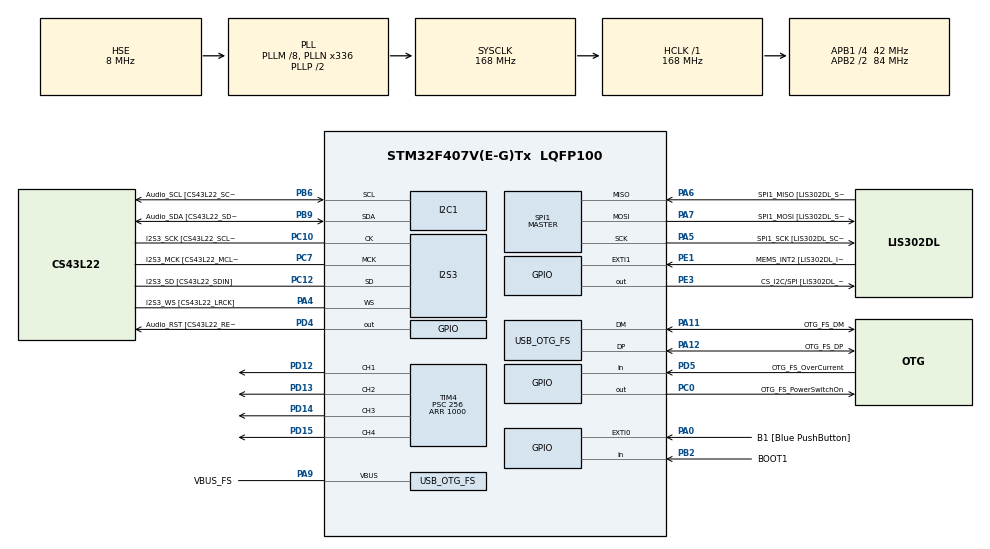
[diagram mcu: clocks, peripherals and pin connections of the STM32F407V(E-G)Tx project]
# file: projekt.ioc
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I2S3.AudioFreq-Half_Duplex_Master=I2S_AUDIOFREQ_96K
I2S3.ErrorAudioFreq=-2.34 %
I2S3.ErrorAudioFreq-Half_Duplex_Master=0.8 %
I2S3.FullDuplexMode=I2S_FULLDUPLEXMODE_DISABLE
I2S3.Instance=SPI$Index
I2S3.RealAudioFreq=93.75 KHz
I2S3.RealAudioFreq-Half_Duplex_Master=96.774 KHz
I2S3.VirtualMode=I2S_MODE_MASTER
Mcu.Family=STM32F4
Mcu.Name=STM32F407V(E-G)Tx
Mcu.Package=LQFP100
NVIC.EXTI0_IRQn=true\:0\:0\:false\:false\:true\:true\:true\:true
NVIC.OTG_FS_IRQn=true\:0\:0\:false\:false\:true\:true\:true\:true
NVIC.PriorityGroup=NVIC_PRIORITYGROUP_0
PA0-WKUP.GPIO_Label=B1 [Blue PushButton]
PA0-WKUP.GPIO_ModeDefaultEXTI=GPIO_MODE_IT_RISING
PA0-WKUP.GPIO_PuPd=GPIO_PULLDOWN
PA0-WKUP.Signal=GPXTI0
PA10.GPIO_Label=OTG_FS_ID
PA10.GPIO_Mode=GPIO_MODE_AF_PP
PA10.GPIO_PuPd=GPIO_NOPULL
PA10.GPIO_Speed=GPIO_SPEED_FREQ_LOW
PA10.Signal=USB_OTG_FS_ID
PA11.GPIO_Label=OTG_FS_DM
PA11.GPIO_Mode=GPIO_MODE_AF_PP
PA11.GPIO_PuPd=GPIO_NOPULL
PA11.GPIO_Speed=GPIO_SPEED_FREQ_LOW
PA11.Mode=Device_Only
PA11.Signal=USB_OTG_FS_DM
PA12.GPIO_Label=OTG_FS_DP
PA12.GPIO_Mode=GPIO_MODE_AF_PP
PA12.GPIO_PuPd=GPIO_NOPULL
PA12.GPIO_Speed=GPIO_SPEED_FREQ_LOW
PA12.Mode=Device_Only
PA12.Signal=USB_OTG_FS_DP
PA13.GPIO_Label=SWDIO
PA13.Mode=Serial_Wire
PA13.Signal=SYS_JTMS-SWDIO
PA14.GPIO_Label=SWCLK
PA14.Mode=Serial_Wire
PA14.Signal=SYS_JTCK-SWCLK
PA4.GPIO_Label=I2S3_WS [CS43L22_LRCK]
PA4.GPIO_Mode=GPIO_MODE_AF_PP
PA4.GPIO_PuPd=GPIO_NOPULL
PA4.GPIO_Speed=GPIO_SPEED_FREQ_LOW
PA4.Mode=Half_Duplex_Master
PA4.Signal=I2S3_WS
PA5.GPIO_Label=SPI1_SCK [LIS302DL_SCL/SPC]
PA5.GPIO_Mode=GPIO_MODE_AF_PP
PA5.GPIO_PuPd=GPIO_NOPULL
PA5.GPIO_Speed=GPIO_SPEED_FREQ_LOW
PA5.Mode=Full_Duplex_Master
PA5.Signal=SPI1_SCK
PA6.GPIO_Label=SPI1_MISO [LIS302DL_SDO]
PA6.GPIO_Mode=GPIO_MODE_AF_PP
PA6.GPIO_PuPd=GPIO_NOPULL
PA6.GPIO_Speed=GPIO_SPEED_FREQ_LOW
PA6.Mode=Full_Duplex_Master
PA6.Signal=SPI1_MISO
PA7.GPIO_Label=SPI1_MOSI [LIS302DL_SDA/SDI/SDO]
PA7.GPIO_Mode=GPIO_MODE_AF_PP
PA7.GPIO_PuPd=GPIO_NOPULL
PA7.GPIO_Speed=GPIO_SPEED_FREQ_LOW
PA7.Mode=Full_Duplex_Master
PA7.Signal=SPI1_MOSI
PA9.GPIO_Label=VBUS_FS
PA9.GPIO_Mode=GPIO_MODE_INPUT
PA9.GPIO_PuPd=GPIO_NOPULL
PA9.Mode=Activate_VBUS
PA9.Signal=USB_OTG_FS_VBUS
PB10.GPIO_Label=CLK_IN [MP45DT02_CLK]
PB10.GPIO_Mode=GPIO_MODE_AF_PP
PB10.GPIO_PuPd=GPIO_NOPULL
PB10.GPIO_Speed=GPIO_SPEED_FREQ_LOW
PB10.Signal=I2S2_CK
PB2.GPIO_Label=BOOT1
PB2.GPIO_Mode=GPIO_MODE_INPUT
PB2.GPIO_PuPd=GPIO_NOPULL
PB2.Signal=GPIO_Input
PB3.GPIO_Label=SWO
PB3.Signal=SYS_JTDO-SWO
PB6.GPIO_Label=Audio_SCL [CS43L22_SCL]
PB6.GPIO_Mode=GPIO_MODE_AF_OD
PB6.GPIO_Pu=GPIO_PULLUP
PB6.GPIO_PuPd=GPIO_NOPULL
PB6.GPIO_Speed=GPIO_SPEED_FREQ_LOW
PB6.Mode=I2C
PB6.Signal=I2C1_SCL
PB9.GPIO_Label=Audio_SDA [CS43L22_SDA]
PB9.GPIO_Mode=GPIO_MODE_AF_OD
PB9.GPIO_Pu=GPIO_PULLUP
PB9.GPIO_PuPd=GPIO_NOPULL
PB9.GPIO_Speed=GPIO_SPEED_FREQ_LOW
PB9.Mode=I2C
PB9.Signal=I2C1_SDA
PC0.GPIO_Label=OTG_FS_PowerSwitchOn
PC0.GPIO_PuPd=GPIO_NOPULL
PC0.GPIO_Speed=GPIO_SPEED_FREQ_LOW
PC0.PinState=GPIO_PIN_SET
PC0.Signal=GPIO_Output
PC10.GPIO_Label=I2S3_SCK [CS43L22_SCLK]
PC10.GPIO_Mode=GPIO_MODE_AF_PP
PC10.GPIO_PuPd=GPIO_NOPULL
PC10.GPIO_Speed=GPIO_SPEED_FREQ_LOW
PC10.Mode=Half_Duplex_Master
PC10.Signal=I2S3_CK
PC12.GPIO_Label=I2S3_SD [CS43L22_SDIN]
PC12.GPIO_Mode=GPIO_MODE_AF_PP
PC12.GPIO_PuPd=GPIO_NOPULL
PC12.GPIO_Speed=GPIO_SPEED_FREQ_LOW
PC12.Mode=Half_Duplex_Master
PC12.Signal=I2S3_SD
PC14-OSC32_IN.GPIO_Label=PC14-OSC32_IN
PC14-OSC32_IN.Mode=LSE-External-Oscillator
PC14-OSC32_IN.Signal=RCC_OSC32_IN
PC15-OSC32_OUT.GPIO_Label=PC15-OSC32_OUT
PC15-OSC32_OUT.Mode=LSE-External-Oscillator
PC15-OSC32_OUT.Signal=RCC_OSC32_OUT
PC3.GPIO_Label=PDM_OUT [MP45DT02_DOUT]
PC3.GPIO_Mode=GPIO_MODE_AF_PP
PC3.GPIO_PuPd=GPIO_NOPULL
PC3.GPIO_Speed=GPIO_SPEED_FREQ_LOW
PC3.Signal=I2S2_SD
PC7.GPIO_Label=I2S3_MCK [CS43L22_MCLK]
PC7.GPIO_Mode=GPIO_MODE_AF_PP
PC7.GPIO_PuPd=GPIO_NOPULL
PC7.GPIO_Speed=GPIO_SPEED_FREQ_LOW
PC7.Mode=Master_Clock_Activated
PC7.Signal=I2S3_MCK
PD12.Signal=S_TIM4_CH1
PD13.Signal=S_TIM4_CH2
PD14.Signal=S_TIM4_CH3
PD15.Signal=S_TIM4_CH4
PD4.GPIO_Label=Audio_RST [CS43L22_RESET]
PD4.GPIO_PuPd=GPIO_NOPULL
PD4.GPIO_Speed=GPIO_SPEED_FREQ_LOW
PD4.Signal=GPIO_Output
PD5.GPIO_Label=OTG_FS_OverCurrent
PD5.GPIO_Mode=GPIO_MODE_INPUT
PD5.GPIO_PuPd=GPIO_NOPULL
PD5.Signal=GPIO_Input
PE1.GPIO_Label=MEMS_INT2 [LIS302DL_INT2]
PE1.GPIO_ModeDefaultEXTI=GPIO_MODE_EVT_RISING
PE1.GPIO_PuPd=GPIO_NOPULL
PE1.Signal=GPXTI1
PE3.GPIO_Label=CS_I2C/SPI [LIS302DL_CS_I2C/SPI]
PE3.GPIO_PuPd=GPIO_NOPULL
PE3.GPIO_Speed=GPIO_SPEED_FREQ_LOW
PE3.Signal=GPIO_Output
PH0-OSC_IN.GPIO_Label=PH0-OSC_IN
PH0-OSC_IN.Mode=HSE-External-Oscillator
PH0-OSC_IN.Signal=RCC_OSC_IN
PH1-OSC_OUT.GPIO_Label=PH1-OSC_OUT
PH1-OSC_OUT.Mode=HSE-External-Oscillator
PH1-OSC_OUT.Signal=RCC_OSC_OUT
ProjectManager.HeapSize=0x200
ProjectManager.StackSize=0x400
ProjectManager.TargetToolchain=STM32CubeIDE
RCC.48MHZClocksFreq_Value=48000000
RCC.AHBFreq_Value=168000000
RCC.APB1CLKDivider=RCC_HCLK_DIV4
RCC.APB1Freq_Value=42000000
RCC.APB1TimFreq_Value=84000000
RCC.APB2CLKDivider=RCC_HCLK_DIV2
RCC.APB2Freq_Value=84000000
RCC.APB2TimFreq_Value=168000000
RCC.CortexFreq_Value=168000000
RCC.HCLKFreq_Value=168000000
RCC.HSE_VALUE=8000000
RCC.HSI_VALUE=16000000
RCC.PLLM=8
RCC.PLLN=336
RCC.PLLQ=7
RCC.SYSCLKFreq_VALUE=168000000
RCC.SYSCLKSource=RCC_SYSCLKSOURCE_PLLCLK
RCC.VCOOutputFreq_Value=336000000
SH.S_TIM4_CH1.0=TIM4_CH1,PWM Generation1 CH1
SH.S_TIM4_CH2.0=TIM4_CH2,PWM Generation2 CH2
SH.S_TIM4_CH3.0=TIM4_CH3,PWM Generation3 CH3
SH.S_TIM4_CH4.0=TIM4_CH4,PWM Generation4 CH4
SPI1.BaudRatePrescaler-Full_Duplex_Master=SPI_BAUDRATEPRESCALER_2
SPI1.CalculateBaudRate-Full_Duplex_Master=42.0 MBits/s
SPI1.Direction=SPI_DIRECTION_2LINES
SPI1.Mode=SPI_MODE_MASTER
SPI1.Mode-Full_Duplex_Master=SPI_MODE_MASTER
SPI1.VirtualType=VM_MASTER
TIM4.Channel-PWM\ Generation1\ CH1=TIM_CHANNEL_1
TIM4.Channel-PWM\ Generation2\ CH2=TIM_CHANNEL_2
TIM4.Channel-PWM\ Generation3\ CH3=TIM_CHANNEL_3
TIM4.Channel-PWM\ Generation4\ CH4=TIM_CHANNEL_4
TIM4.Period=1000
TIM4.Prescaler=256
USB_DEVICE.CLASS_NAME_FS=CDC
USB_DEVICE.VirtualMode-CDC_FS=Cdc
USB_DEVICE.VirtualModeFS=Cdc_FS
USB_OTG_FS.VirtualMode=Device_Only
VP_USB_DEVICE_VS_USB_DEVICE_CDC_FS.Mode=CDC_FS
board=STM32F407G-DISC1

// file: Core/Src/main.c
/* USER CODE BEGIN Header */
/**
 ******************************************************************************
 * @file           : main.c
 * @brief          : Main program body
 ******************************************************************************
 * @attention
 *
 * Copyright (c) 2024 STMicroelectronics.
 * All rights reserved.
 *
 * This software is licensed under terms that can be found in the LICENSE file
 * in the root directory of this software component.
 * If no LICENSE file comes with this software, it is provided AS-IS.
 *
 ******************************************************************************
 */
/* USER CODE END Header */
#include "main.h"
#include "usb_device.h"

/* USER CODE BEGIN Includes */
#include <stdarg.h>
#include <string.h>
#include <stdio.h>

#include "my_modes.h"

#include "usbd_cdc_if.h"
/* USER CODE END Includes */

I2C_HandleTypeDef hi2c1;

I2S_HandleTypeDef hi2s3;

SPI_HandleTypeDef hspi1;

TIM_HandleTypeDef htim4;

/* USER CODE BEGIN PV */
//const unsigned uint_8 kanaly[] = {TIM_CHANNEL_2, TIM_CHANNEL_3, TIM_CHANNEL_4, TIM_CHANNEL_1};
//const int kanaly[] = { 0x00000004U, 0x00000008U, 0x0000000CU, 0x00000000U };
const int kanaly[4] = { TIM_CHANNEL_2, TIM_CHANNEL_3, TIM_CHANNEL_4, TIM_CHANNEL_1 };
volatile int delay = 10;
volatile Mod_t aktualny_mod;
/* USER CODE END PV */

void SystemClock_Config(void);
static void MX_GPIO_Init(void);
static void MX_I2C1_Init(void);
static void MX_I2S3_Init(void);
static void MX_SPI1_Init(void);
static void MX_TIM4_Init(void);

int main(void) {

	/* MCU Configuration--------------------------------------------------------*/

	/* Reset of all peripherals, Initializes the Flash interface and the Systick. */
	HAL_Init();

	/* Configure the system clock */
	SystemClock_Config();

	/* Initialize all configured peripherals */
	MX_GPIO_Init();
	MX_I2C1_Init();
	MX_I2S3_Init();
	MX_SPI1_Init();
	MX_TIM4_Init();
	MX_USB_DEVICE_Init();
	/* USER CODE BEGIN 2 */
	HAL_TIM_PWM_Start(&htim4, TIM_CHANNEL_1);
	HAL_TIM_PWM_Start(&htim4, TIM_CHANNEL_2);
	HAL_TIM_PWM_Start(&htim4, TIM_CHANNEL_3);
	HAL_TIM_PWM_Start(&htim4, TIM_CHANNEL_4);
	/* USER CODE END 2 */

	/* Infinite loop */

	/* USER CODE BEGIN WHILE */
	while (1) {
		if (aktualny_mod == MODE_VSETKY_NARAZ) {
			for (int i = 0; i < 100; ++i) {
				__HAL_TIM_SET_COMPARE(&htim4, TIM_CHANNEL_1, i * 10);
				__HAL_TIM_SET_COMPARE(&htim4, TIM_CHANNEL_2, i * 10);
				__HAL_TIM_SET_COMPARE(&htim4, TIM_CHANNEL_3, i * 10);
				__HAL_TIM_SET_COMPARE(&htim4, TIM_CHANNEL_4, i * 10);
				HAL_Delay(delay);
			}

			for (int i = 100; i >= 0; i--) {
				__HAL_TIM_SET_COMPARE(&htim4, TIM_CHANNEL_1, i * 10);
				__HAL_TIM_SET_COMPARE(&htim4, TIM_CHANNEL_2, i * 10);
				__HAL_TIM_SET_COMPARE(&htim4, TIM_CHANNEL_3, i * 10);
				__HAL_TIM_SET_COMPARE(&htim4, TIM_CHANNEL_4, i * 10);
				HAL_Delay(delay);
			}
		} else if (aktualny_mod == MODE_POSTUPNE) {

			for (int i = 0; i < 4; i++) {
				for (int j = 0; j <= 100; ++j) {
					__HAL_TIM_SET_COMPARE(&htim4, kanaly[i], j * 10);
					HAL_Delay(delay);
				}
				for (int j = 100; j >= 0; j--) {
					__HAL_TIM_SET_COMPARE(&htim4, kanaly[i], j * 10);
					HAL_Delay(delay);
				}

			}
		} else if (aktualny_mod == STROBOSKOP) {
			for (int i = 0; i < 4; i++) {
				__HAL_TIM_SET_COMPARE(&htim4, kanaly[i], 1000);
			}
			HAL_Delay(3);
			for (int i = 0; i < 4; i++) {
				__HAL_TIM_SET_COMPARE(&htim4, kanaly[i], 0);
			}

			HAL_Delay(delay * 10);

		}

		/* USER CODE END WHILE */

	}
}

void SystemClock_Config(void) {
	RCC_OscInitTypeDef RCC_OscInitStruct = { 0 };
	RCC_ClkInitTypeDef RCC_ClkInitStruct = { 0 };

	/** Configure the main internal regulator output voltage
	 */
	__HAL_RCC_PWR_CLK_ENABLE();
	__HAL_PWR_VOLTAGESCALING_CONFIG(PWR_REGULATOR_VOLTAGE_SCALE1);

	/** Initializes the RCC Oscillators according to the specified parameters
	 * in the RCC_OscInitTypeDef structure.
	 */
	RCC_OscInitStruct.OscillatorType = RCC_OSCILLATORTYPE_HSE;
	RCC_OscInitStruct.HSEState = RCC_HSE_ON;
	RCC_OscInitStruct.PLL.PLLState = RCC_PLL_ON;
	RCC_OscInitStruct.PLL.PLLSource = RCC_PLLSOURCE_HSE;
	RCC_OscInitStruct.PLL.PLLM = 8;
	RCC_OscInitStruct.PLL.PLLN = 336;
	RCC_OscInitStruct.PLL.PLLP = RCC_PLLP_DIV2;
	RCC_OscInitStruct.PLL.PLLQ = 7;
	if (HAL_RCC_OscConfig(&RCC_OscInitStruct) != HAL_OK) {
		Error_Handler();
	}

	/** Initializes the CPU, AHB and APB buses clocks
	 */
	RCC_ClkInitStruct.ClockType = RCC_CLOCKTYPE_HCLK | RCC_CLOCKTYPE_SYSCLK
			| RCC_CLOCKTYPE_PCLK1 | RCC_CLOCKTYPE_PCLK2;
	RCC_ClkInitStruct.SYSCLKSource = RCC_SYSCLKSOURCE_PLLCLK;
	RCC_ClkInitStruct.AHBCLKDivider = RCC_SYSCLK_DIV1;
	RCC_ClkInitStruct.APB1CLKDivider = RCC_HCLK_DIV4;
	RCC_ClkInitStruct.APB2CLKDivider = RCC_HCLK_DIV2;

	if (HAL_RCC_ClockConfig(&RCC_ClkInitStruct, FLASH_LATENCY_5) != HAL_OK) {
		Error_Handler();
	}
}

static void MX_I2C1_Init(void) {

	hi2c1.Instance = I2C1;
	hi2c1.Init.ClockSpeed = 100000;
	hi2c1.Init.DutyCycle = I2C_DUTYCYCLE_2;
	hi2c1.Init.OwnAddress1 = 0;
	hi2c1.Init.AddressingMode = I2C_ADDRESSINGMODE_7BIT;
	hi2c1.Init.DualAddressMode = I2C_DUALADDRESS_DISABLE;
	hi2c1.Init.OwnAddress2 = 0;
	hi2c1.Init.GeneralCallMode = I2C_GENERALCALL_DISABLE;
	hi2c1.Init.NoStretchMode = I2C_NOSTRETCH_DISABLE;
	if (HAL_I2C_Init(&hi2c1) != HAL_OK) {
		Error_Handler();
	}

}

static void MX_I2S3_Init(void) {

	hi2s3.Instance = SPI3;
	hi2s3.Init.Mode = I2S_MODE_MASTER_TX;
	hi2s3.Init.Standard = I2S_STANDARD_PHILIPS;
	hi2s3.Init.DataFormat = I2S_DATAFORMAT_16B;
	hi2s3.Init.MCLKOutput = I2S_MCLKOUTPUT_ENABLE;
	hi2s3.Init.AudioFreq = I2S_AUDIOFREQ_96K;
	hi2s3.Init.CPOL = I2S_CPOL_LOW;
	hi2s3.Init.ClockSource = I2S_CLOCK_PLL;
	hi2s3.Init.FullDuplexMode = I2S_FULLDUPLEXMODE_DISABLE;
	if (HAL_I2S_Init(&hi2s3) != HAL_OK) {
		Error_Handler();
	}

}

static void MX_SPI1_Init(void) {

	/* SPI1 parameter configuration*/
	hspi1.Instance = SPI1;
	hspi1.Init.Mode = SPI_MODE_MASTER;
	hspi1.Init.Direction = SPI_DIRECTION_2LINES;
	hspi1.Init.DataSize = SPI_DATASIZE_8BIT;
	hspi1.Init.CLKPolarity = SPI_POLARITY_LOW;
	hspi1.Init.CLKPhase = SPI_PHASE_1EDGE;
	hspi1.Init.NSS = SPI_NSS_SOFT;
	hspi1.Init.BaudRatePrescaler = SPI_BAUDRATEPRESCALER_2;
	hspi1.Init.FirstBit = SPI_FIRSTBIT_MSB;
	hspi1.Init.TIMode = SPI_TIMODE_DISABLE;
	hspi1.Init.CRCCalculation = SPI_CRCCALCULATION_DISABLE;
	hspi1.Init.CRCPolynomial = 10;
	if (HAL_SPI_Init(&hspi1) != HAL_OK) {
		Error_Handler();
	}

}

static void MX_TIM4_Init(void) {

	TIM_MasterConfigTypeDef sMasterConfig = { 0 };
	TIM_OC_InitTypeDef sConfigOC = { 0 };

	htim4.Instance = TIM4;
	htim4.Init.Prescaler = 256;
	htim4.Init.CounterMode = TIM_COUNTERMODE_UP;
	htim4.Init.Period = 1000;
	htim4.Init.ClockDivision = TIM_CLOCKDIVISION_DIV1;
	htim4.Init.AutoReloadPreload = TIM_AUTORELOAD_PRELOAD_DISABLE;
	if (HAL_TIM_PWM_Init(&htim4) != HAL_OK) {
		Error_Handler();
	}
	sMasterConfig.MasterOutputTrigger = TIM_TRGO_RESET;
	sMasterConfig.MasterSlaveMode = TIM_MASTERSLAVEMODE_DISABLE;
	if (HAL_TIMEx_MasterConfigSynchronization(&htim4, &sMasterConfig)
			!= HAL_OK) {
		Error_Handler();
	}
	sConfigOC.OCMode = TIM_OCMODE_PWM1;
	sConfigOC.Pulse = 0;
	sConfigOC.OCPolarity = TIM_OCPOLARITY_HIGH;
	sConfigOC.OCFastMode = TIM_OCFAST_DISABLE;
	if (HAL_TIM_PWM_ConfigChannel(&htim4, &sConfigOC, TIM_CHANNEL_1)
			!= HAL_OK) {
		Error_Handler();
	}
	if (HAL_TIM_PWM_ConfigChannel(&htim4, &sConfigOC, TIM_CHANNEL_2)
			!= HAL_OK) {
		Error_Handler();
	}
	if (HAL_TIM_PWM_ConfigChannel(&htim4, &sConfigOC, TIM_CHANNEL_3)
			!= HAL_OK) {
		Error_Handler();
	}
	if (HAL_TIM_PWM_ConfigChannel(&htim4, &sConfigOC, TIM_CHANNEL_4)
			!= HAL_OK) {
		Error_Handler();
	}
	HAL_TIM_MspPostInit(&htim4);

}

static void MX_GPIO_Init(void) {
	GPIO_InitTypeDef GPIO_InitStruct = { 0 };

	/* GPIO Ports Clock Enable */
	__HAL_RCC_GPIOE_CLK_ENABLE();
	__HAL_RCC_GPIOC_CLK_ENABLE();
	__HAL_RCC_GPIOH_CLK_ENABLE();
	__HAL_RCC_GPIOA_CLK_ENABLE();
	__HAL_RCC_GPIOB_CLK_ENABLE();
	__HAL_RCC_GPIOD_CLK_ENABLE();

	/*Configure GPIO pin Output Level */
	HAL_GPIO_WritePin(CS_I2C_SPI_GPIO_Port, CS_I2C_SPI_Pin, GPIO_PIN_RESET);

	/*Configure GPIO pin Output Level */
	HAL_GPIO_WritePin(OTG_FS_PowerSwitchOn_GPIO_Port, OTG_FS_PowerSwitchOn_Pin,
			GPIO_PIN_SET);

	/*Configure GPIO pin Output Level */
	HAL_GPIO_WritePin(Audio_RST_GPIO_Port, Audio_RST_Pin, GPIO_PIN_RESET);

	/*Configure GPIO pin : CS_I2C_SPI_Pin */
	GPIO_InitStruct.Pin = CS_I2C_SPI_Pin;
	GPIO_InitStruct.Mode = GPIO_MODE_OUTPUT_PP;
	GPIO_InitStruct.Pull = GPIO_NOPULL;
	GPIO_InitStruct.Speed = GPIO_SPEED_FREQ_LOW;
	HAL_GPIO_Init(CS_I2C_SPI_GPIO_Port, &GPIO_InitStruct);

	/*Configure GPIO pin : OTG_FS_PowerSwitchOn_Pin */
	GPIO_InitStruct.Pin = OTG_FS_PowerSwitchOn_Pin;
	GPIO_InitStruct.Mode = GPIO_MODE_OUTPUT_PP;
	GPIO_InitStruct.Pull = GPIO_NOPULL;
	GPIO_InitStruct.Speed = GPIO_SPEED_FREQ_LOW;
	HAL_GPIO_Init(OTG_FS_PowerSwitchOn_GPIO_Port, &GPIO_InitStruct);

	/*Configure GPIO pin : PDM_OUT_Pin */
	GPIO_InitStruct.Pin = PDM_OUT_Pin;
	GPIO_InitStruct.Mode = GPIO_MODE_AF_PP;
	GPIO_InitStruct.Pull = GPIO_NOPULL;
	GPIO_InitStruct.Speed = GPIO_SPEED_FREQ_LOW;
	GPIO_InitStruct.Alternate = GPIO_AF5_SPI2;
	HAL_GPIO_Init(PDM_OUT_GPIO_Port, &GPIO_InitStruct);

	/*Configure GPIO pin : B1_Pin */
	GPIO_InitStruct.Pin = B1_Pin;
	GPIO_InitStruct.Mode = GPIO_MODE_IT_RISING;
	GPIO_InitStruct.Pull = GPIO_PULLDOWN;
	HAL_GPIO_Init(B1_GPIO_Port, &GPIO_InitStruct);

	/*Configure GPIO pin : BOOT1_Pin */
	GPIO_InitStruct.Pin = BOOT1_Pin;
	GPIO_InitStruct.Mode = GPIO_MODE_INPUT;
	GPIO_InitStruct.Pull = GPIO_NOPULL;
	HAL_GPIO_Init(BOOT1_GPIO_Port, &GPIO_InitStruct);

	/*Configure GPIO pin : CLK_IN_Pin */
	GPIO_InitStruct.Pin = CLK_IN_Pin;
	GPIO_InitStruct.Mode = GPIO_MODE_AF_PP;
	GPIO_InitStruct.Pull = GPIO_NOPULL;
	GPIO_InitStruct.Speed = GPIO_SPEED_FREQ_LOW;
	GPIO_InitStruct.Alternate = GPIO_AF5_SPI2;
	HAL_GPIO_Init(CLK_IN_GPIO_Port, &GPIO_InitStruct);

	/*Configure GPIO pin : Audio_RST_Pin */
	GPIO_InitStruct.Pin = Audio_RST_Pin;
	GPIO_InitStruct.Mode = GPIO_MODE_OUTPUT_PP;
	GPIO_InitStruct.Pull = GPIO_NOPULL;
	GPIO_InitStruct.Speed = GPIO_SPEED_FREQ_LOW;
	HAL_GPIO_Init(Audio_RST_GPIO_Port, &GPIO_InitStruct);

	/*Configure GPIO pin : OTG_FS_OverCurrent_Pin */
	GPIO_InitStruct.Pin = OTG_FS_OverCurrent_Pin;
	GPIO_InitStruct.Mode = GPIO_MODE_INPUT;
	GPIO_InitStruct.Pull = GPIO_NOPULL;
	HAL_GPIO_Init(OTG_FS_OverCurrent_GPIO_Port, &GPIO_InitStruct);

	/*Configure GPIO pin : MEMS_INT2_Pin */
	GPIO_InitStruct.Pin = MEMS_INT2_Pin;
	GPIO_InitStruct.Mode = GPIO_MODE_EVT_RISING;
	GPIO_InitStruct.Pull = GPIO_NOPULL;
	HAL_GPIO_Init(MEMS_INT2_GPIO_Port, &GPIO_InitStruct);

	/* EXTI interrupt init*/
	HAL_NVIC_SetPriority(EXTI0_IRQn, 0, 0);
	HAL_NVIC_EnableIRQ(EXTI0_IRQn);

}

void Error_Handler(void) {
	__disable_irq();
	while (1) {
	}
}
